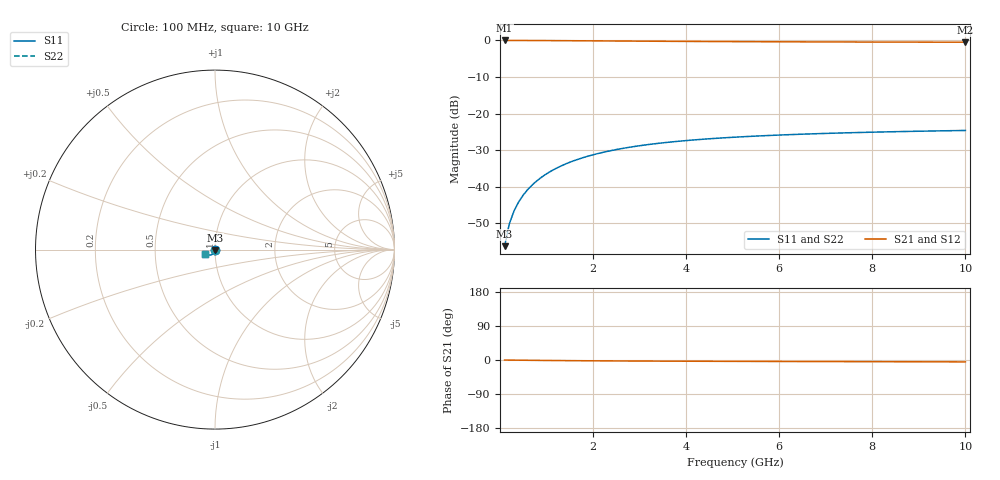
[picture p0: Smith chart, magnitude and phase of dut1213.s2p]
! Touchstone file exported from HFSS 2024.1.0
!  File:  C:/UserFiles/LocalFiles/RDL_TSV_Batchsim/temp_TSV1_1213_1780248658.aedt
!  Generated:  01:38:05 AM Jun  1, 2026
!  Design:  TSV1
!  Project:  temp_TSV1_1213_1780248658
!  Setup:  Setup1
!  Solution:  Sweep
! Variables:
!  dtsv = 12.84um
!  hbump = 3um
!  htsv = 75.7um
!  lrdl = 252.1521522um
!  p = 40
!  p1 = 43.03um
!  t = 500um
!  trdl = 3um
!  wrdl = 24.89489489um
# GHz S MA R 50.000000
! Terminal data exported
! Port[1] = TSV22_T1
! Port[2] = TSV22_T2
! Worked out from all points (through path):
!   100 points, 100 MHz to 10 GHz, reference 50 ohm
!   highest |S21| = 0.00 dB at 100 MHz (marker M1); lowest = -0.5 dB at 10 GHz (marker M2)
!   lowest |S11| = -56.2 dB at 100 MHz (marker M3), VSWR 1.00, Z = 50 - j0.155 ohm
!   |S11| at or under -10 dB: start of sweep to end of sweep
!   |S22| runs from -56.2 to -24.6 dB; largest |S21 - S12| = 4.3e-15
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0.1  0.001547 -88.1  0.9999 -0.1  0.9999 -0.1  0.001547 -88.1
! Gamma 0 0 0 0
! Port Impedance 50 0 50 0
0.2  0.003099 -91.1  0.9997 -0.3  0.9997 -0.3  0.003099 -91.1
0.3  0.004651 -93.1  0.9995 -0.4  0.9995 -0.4  0.004651 -93.1
0.4  0.006194 -94.9  0.9992 -0.5  0.9992 -0.5  0.006194 -94.9
0.5  0.007724 -96.6  0.9989 -0.6  0.9989 -0.6  0.007724 -96.6
0.6  0.009236 -98.2  0.9984 -0.7  0.9984 -0.7  0.009236 -98.2
0.7  0.01073 -99.7  0.9979 -0.9  0.9979 -0.9  0.01073 -99.7
0.8  0.0122 -101.2  0.9973 -1.0  0.9973 -1.0  0.0122 -101.2
0.9  0.01364 -102.7  0.9967 -1.1  0.9967 -1.1  0.01364 -102.7
1.1  0.01644 -105.6  0.9953 -1.3  0.9953 -1.3  0.01644 -105.6
1.4  0.02041 -109.6  0.9928 -1.6  0.9928 -1.6  0.02041 -109.6
1.6  0.02289 -112.2  0.9911 -1.8  0.9911 -1.8  0.02289 -112.2
1.8  0.02522 -114.6  0.9893 -2.0  0.9893 -2.0  0.02522 -114.6
2.1  0.02847 -118.1  0.9865 -2.2  0.9865 -2.2  0.02847 -118.1
2.5  0.03232 -122.2  0.9827 -2.5  0.9827 -2.5  0.03232 -122.2
2.9  0.03568 -125.9  0.9792 -2.7  0.9792 -2.7  0.03568 -125.9
3.4  0.03928 -130.0  0.9749 -3.0  0.9749 -3.0  0.03928 -130.0
4.2  0.04391 -135.5  0.969 -3.3  0.969 -3.3  0.04391 -135.5
5.1  0.04791 -140.5  0.9633 -3.6  0.9633 -3.6  0.04791 -140.5
6.7  0.05296 -147.1  0.9558 -4.1  0.9558 -4.1  0.05296 -147.1
8.4  0.05655 -152.3  0.9502 -4.6  0.9502 -4.6  0.05655 -152.3
10  0.05891 -156.0  0.9464 -5.0  0.9464 -5.0  0.05891 -156.0
